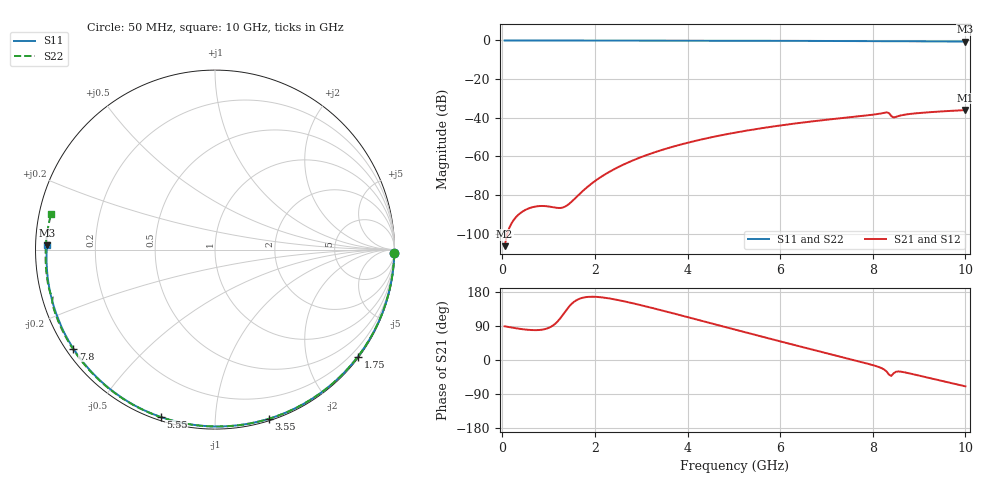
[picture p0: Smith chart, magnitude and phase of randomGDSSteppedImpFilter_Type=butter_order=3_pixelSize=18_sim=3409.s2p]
! freq	dB(S11)	phase(S11)	dB(S12)	phase(S12)
!  dB(S21)	phase(S21)	dB(S22)	phase(S22)
!S-par simulation data
#  GHz  S  DB  R 50
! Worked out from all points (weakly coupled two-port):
!   200 points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, 50 MHz to 10 GHz, reference 50 ohm
!   highest |S21| = -36.06 dB at 10 GHz (marker M1); lowest = -106.5 dB at 50 MHz (marker M2)
!   lowest |S11| = -0.6 dB at 10 GHz (marker M3), VSWR 30.34, Z = 1.65 + j0.664 ohm
!   |S11| at or under -10 dB: nowhere
!   |S22| runs from -0.6 to 0.0 dB; largest |S21 - S12| = 0
!   S11 on the Smith chart (normalised r, x): 50 MHz: open; 1.75 GHz: 0.03, -3.00; 3.55 GHz: 0.02, -1.37; 5.55 GHz: 0.02, -0.73; 7.8 GHz: 0.02, -0.31; 10 GHz: 0.03, +0.01
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0.05  -0.00 -1.0  -106.53 88.9  -106.53 88.9  -0.00 -1.1
0.8  -0.02 -17.1  -85.76 79.2  -85.76 79.2  -0.02 -18.2
1.65  -0.04 -34.8  -79.93 160.7  -79.93 160.7  -0.05 -37.1
1.75  -0.05 -36.9  -77.69 164.7  -77.69 164.7  -0.05 -39.3
2.05  -0.05 -43.0  -71.98 166.4  -71.98 166.4  -0.06 -45.8
2.45  -0.06 -51.0  -66.24 159.4  -66.24 159.4  -0.07 -54.3
2.9  -0.08 -59.9  -61.33 147.4  -61.33 147.4  -0.08 -63.7
3.4  -0.09 -69.5  -57.06 132.3  -57.06 132.3  -0.10 -73.8
3.55  -0.10 -72.3  -55.95 127.6  -55.95 127.6  -0.10 -76.8
4.3  -0.12 -86.1  -51.27 103.6  -51.27 103.6  -0.13 -91.4
5.05  -0.15 -99.4  -47.64 79.4  -47.64 79.4  -0.16 -105.3
5.55  -0.17 -108.0  -45.63 63.5  -45.63 63.5  -0.18 -114.4
6.7  -0.24 -127.2  -41.89 27.3  -41.89 27.3  -0.26 -134.5
7.8  -0.33 -145.1  -39.02 -6.9  -39.02 -6.9  -0.34 -153.5
8.3  -0.38 -153.2  -37.26 -30.7  -37.26 -30.7  -0.43 -162.4
8.35  -0.38 -154.0  -37.60 -38.6  -37.60 -38.6  -0.49 -163.3
8.4  -0.40 -154.8  -39.13 -42.0  -39.13 -42.0  -0.52 -163.7
8.45  -0.40 -155.6  -39.90 -35.2  -39.90 -35.2  -0.49 -164.3
8.65  -0.42 -158.9  -38.60 -31.6  -38.60 -31.6  -0.45 -167.8
8.9  -0.44 -163.0  -37.81 -38.3  -37.81 -38.3  -0.46 -172.3
9.45  -0.50 -172.1  -36.80 -54.1  -36.80 -54.1  -0.52 177.9
10  -0.57 178.5  -36.06 -69.5  -36.06 -69.5  -0.58 167.9
